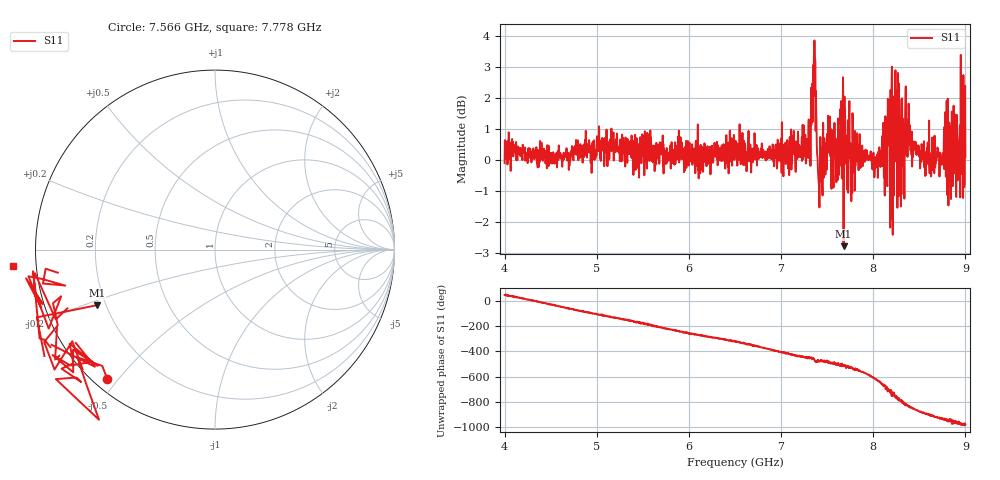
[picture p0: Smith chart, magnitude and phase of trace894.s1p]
! Created with skrf 1.8.0 (http://scikit-rf.org).
# Hz S RI R 50.0
!freq ReS11 ImS11
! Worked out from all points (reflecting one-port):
!   1601 points, 4 GHz to 9 GHz, reference 50 ohm
!   lowest |S11| = -2.8 dB at 7.678 GHz (marker M1), VSWR 6.30, Z = 8.32 - j10.9 ohm
!   phase of S11 starts at 50 deg and turns -1032 deg over the sweep
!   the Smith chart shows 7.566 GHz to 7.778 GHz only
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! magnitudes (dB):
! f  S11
! 4 GHz  -0.1
! 4.625 GHz  -0.2
! 5.25 GHz  0.0
! 5.875 GHz  0.5
! 6.5 GHz  0.4
! 7.125 GHz  0.3
! 7.297 GHz  0.9
! 7.356 GHz  3.3
! 7.372 GHz  3.2
! 7.4 GHz  -0.3
! 7.425 GHz  0.7
! 7.519 GHz  1.2
! 7.578 GHz  1.2
! 7.678 GHz  -2.8
! 7.703 GHz  0.8
! 7.75 GHz  0.5
! 8.038 GHz  0.0
! 8.156 GHz  0.9
! 8.253 GHz  1.1
! 8.312 GHz  2.0
! 8.334 GHz  0.4
! 8.375 GHz  0.5
! 8.556 GHz  -0.2
! 8.738 GHz  0.0
! 8.788 GHz  -0.5
! 8.919 GHz  -0.3
! 8.959 GHz  1.7
! 9 GHz  0.1
